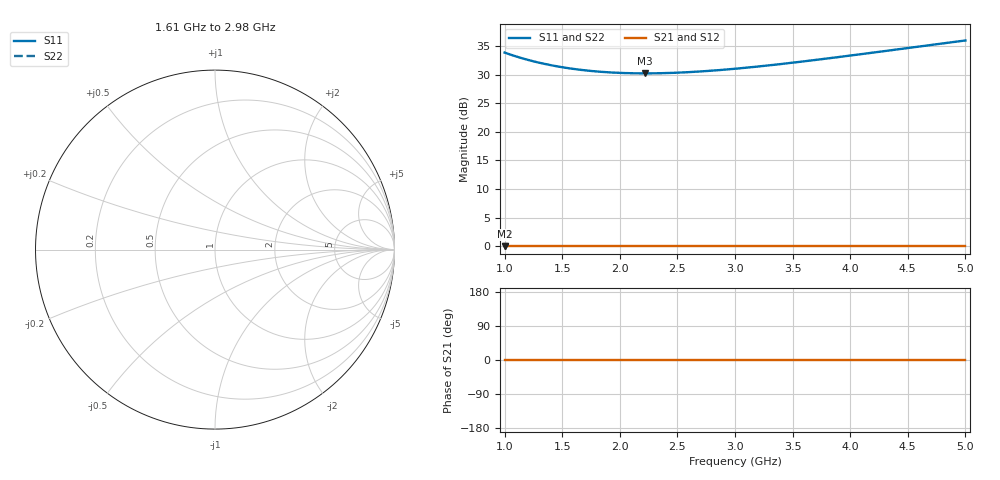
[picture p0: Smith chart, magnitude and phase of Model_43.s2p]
# GHZ S RI R 50
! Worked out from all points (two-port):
!   401 points, 1 GHz to 5 GHz, reference 50 ohm
!   highest |S21| = 0.00 dB at 1 GHz (marker M1); lowest = 0.0 dB at 1 GHz (marker M2)
!   |S21| within 3 dB of the highest: start of sweep to end of sweep
!   lowest |S11| = 30.2 dB at 2.22 GHz (marker M3)
!   |S11| at or under -10 dB: nowhere
!   |S22| runs from 30.2 to 36.0 dB; largest |S21 - S12| = 0
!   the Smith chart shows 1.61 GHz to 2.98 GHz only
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1  49.5 0  1 0  1 0  49.5 0
1.15  44.19 0  1 0  1 0  44.19 0
1.22  42.25 0  1 0  1 0  42.25 0
1.3  40.36 0  1 0  1 0  40.36 0
1.38  38.77 0  1 0  1 0  38.77 0
1.47  37.27 0  1 0  1 0  37.27 0
1.57  35.92 0  1 0  1 0  35.92 0
1.67  34.85 0  1 0  1 0  34.85 0
1.8  33.82 0  1 0  1 0  33.82 0
1.93  33.12 0  1 0  1 0  33.12 0
2.07  32.69 0  1 0  1 0  32.69 0
2.22  32.54 0  1 0  1 0  32.54 0
2.34  32.63 0  1 0  1 0  32.63 0
2.5  33 0  1 0  1 0  33 0
2.66  33.63 0  1 0  1 0  33.63 0
3  35.72 0  1 0  1 0  35.72 0
3.33  38.59 0  1 0  1 0  38.59 0
3.67  42.31 0  1 0  1 0  42.31 0
4  46.59 0  1 0  1 0  46.59 0
4.34  51.64 0  1 0  1 0  51.64 0
4.63  56.44 0  1 0  1 0  56.44 0
5  63.19 0  1 0  1 0  63.19 0
